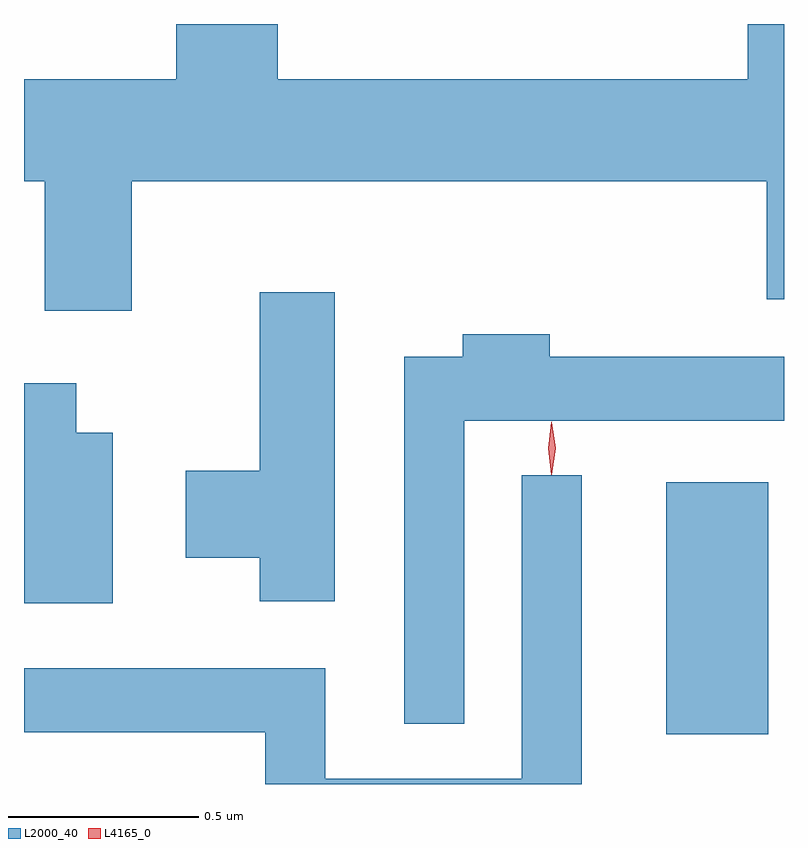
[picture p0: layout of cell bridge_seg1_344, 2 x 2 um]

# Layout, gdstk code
import gdstk
lib = gdstk.Library(unit=1e-6, precision=1e-09)
def R(c, l, rs):  # rectangles x0, y0, x1, y1
    for r in rs: c.add(gdstk.rectangle(r[:2], r[2:], *l))
def P(c, l, *ps):  # polygons
    for p in ps: c.add(gdstk.Polygon(p, *l))
L2000_40 = (2000, 40)
L4165_0 = (4165, 0)

bridge_seg1_344 = lib.new_cell('bridge_seg1_344')
R(bridge_seg1_344, L2000_40, [(935.646,880.361,935.914,881.024)])
P(bridge_seg1_344, L2000_40, [(934.239,881.816),(935.911,881.816),(935.911,881.506),(935.956,881.506),(935.956,882.23),(935.861,882.23),(935.861,882.084),(934.624,882.084),(934.624,882.23),(934.356,882.23),(934.356,882.084),(933.956,882.084),(933.956,881.816),(934.011,881.816),(934.011,881.476),(934.239,881.476)],
  [(934.774,881.524),(934.576,881.524),(934.576,881.054),(934.381,881.054),(934.381,880.826),(934.576,880.826),(934.576,880.711),(934.774,880.711)],
  [(935.114,881.186),(935.956,881.186),(935.956,881.354),(935.339,881.354),(935.339,881.414),(935.111,881.414),(935.111,881.354),(934.956,881.354),(934.956,880.388),(935.114,880.388)],
  [(934.189,881.154),(934.094,881.154),(934.094,881.284),(933.956,881.284),(933.956,880.706),(934.189,880.706)],
  [(935.424,881.043),(935.266,881.043),(935.266,880.244),(934.749,880.244),(934.749,880.534),(933.956,880.534),(933.956,880.366),(934.591,880.366),(934.591,880.23),(935.424,880.23)])
P(bridge_seg1_344, L4165_0, [(935.344,881.044),(935.335,881.113),(935.344,881.182),(935.345,881.183),(935.345,881.182),(935.355,881.113),(935.345,881.044),(935.345,881.044)],
  [(935.344,881.047),(935.335,881.114),(935.344,881.18),(935.345,881.181),(935.345,881.18),(935.355,881.114),(935.345,881.047),(935.345,881.047)])

lib.write_gds('bridge_seg1_344.gds')
